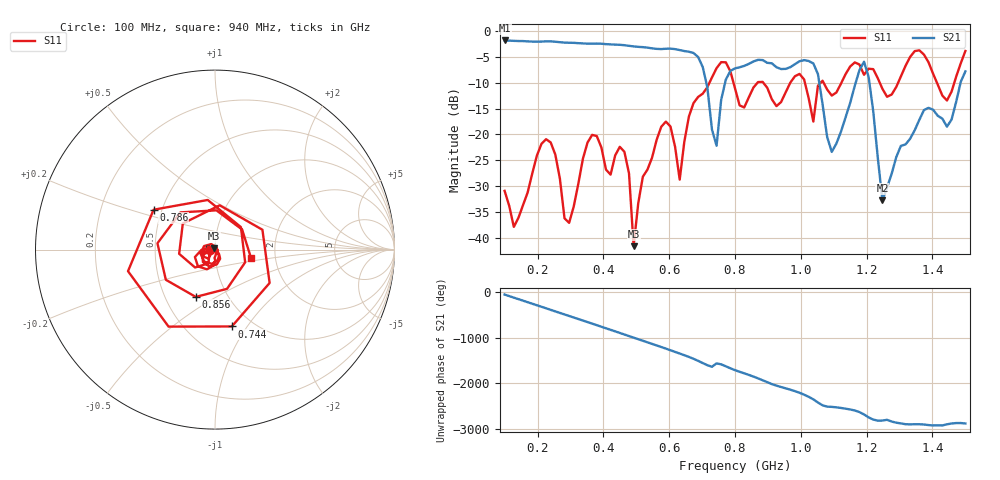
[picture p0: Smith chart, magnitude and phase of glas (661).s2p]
! NanoVNA-App
! Date: 2025-09-25 16:00:37
! Start: 100MHz Stop: 1,5GHz Points: 101
! S-Parameter data: F S11 S21 S12 S22
# Hz S RI R 50
!  Frequency  S11_Real  S11_Imag  S21_Real  S21_Imag  S12_Real  S12_Imag  S22_Real  S22_Imag
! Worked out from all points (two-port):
!   101 points, 100 MHz to 1.5 GHz, reference 50 ohm
!   highest |S21| = -1.80 dB at 100 MHz (marker M1); lowest = -32.8 dB at 1.248 GHz (marker M2)
!   |S21| within 3 dB of the highest: start of sweep to 684.3 MHz
!   lowest |S11| = -41.6 dB at 492 MHz (marker M3), VSWR 1.02, Z = 49.5 + j0.628 ohm
!   |S11| at or under -10 dB: start of sweep to 722.3 MHz; 795.4 MHz to 868.1 MHz (72.71 MHz wide, 8.74 % of centre); 886.1 MHz to 967.8 MHz (81.68 MHz wide, 8.81 % of centre) (the widest 3 of 7)
!   S12 and S22 are empty: the file has one direction only
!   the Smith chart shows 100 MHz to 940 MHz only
!   S11 on the Smith chart (normalised r, x): 100 MHz: 0.95, -0.01; 744 MHz: 0.80, -0.85; 786 MHz: 0.45, +0.24; 856 MHz: 0.71, -0.41; 940 MHz: 1.49, -0.15
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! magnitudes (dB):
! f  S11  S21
! 100 MHz  -30.9  -1.8
! 128 MHz  -37.9  -1.9
! 226 MHz  -20.9  -2.0
! 296 MHz  -37.1  -2.2
! 338 MHz  -24.7  -2.4
! 464 MHz  -23.4  -2.7
! 492 MHz  -41.6  -3.0
! 576 MHz  -18.5  -3.5
! 632 MHz  -28.7  -3.7
! 702 MHz  -12.1  -7.0
! 744 MHz  -7.2  -22.2
! 786 MHz  -7.8  -7.7
! 800 MHz  -11.1  -7.2
! 856 MHz  -10.9  -5.9
! 940 MHz  -13.7  -7.3
! 996 MHz  -8.3  -5.8
! 1.038 GHz  -17.5  -6.2
! 1.094 GHz  -12.5  -23.4
! 1.192 GHz  -8.4  -5.9
! 1.248 GHz  -11.2  -32.8
! 1.276 GHz  -12.3  -27.6
! 1.5 GHz  -3.8  -7.8
